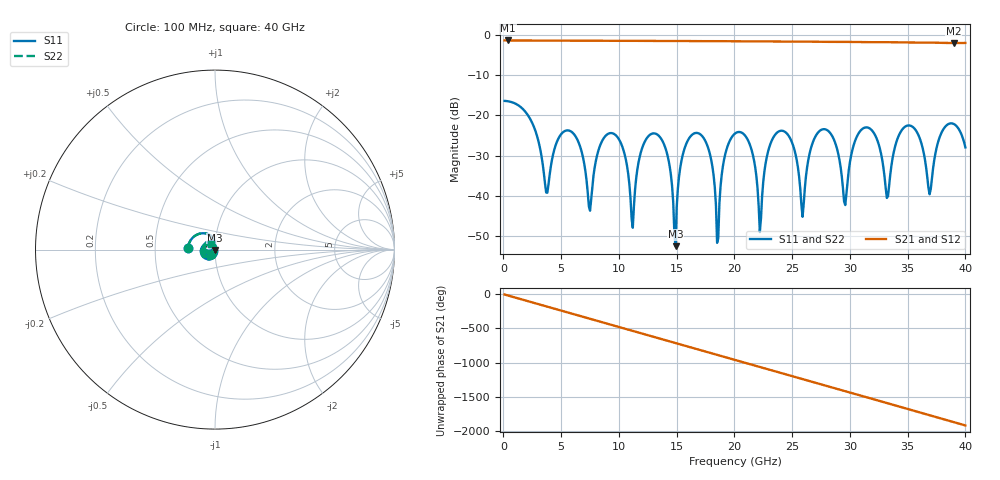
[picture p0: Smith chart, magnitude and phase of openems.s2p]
! T_ts6_sl_20: Stripline In2, ThunderScope stack, w 0.183 mm, 20 mm
! stackup: ThunderScope Rev5.3 6-layer (FR408HR / FR-4, from the board file)
! ports: 1 near A, 2 far A
! openEMS 0.37.0, staircase, fine mesh (dfine 0.0175 mm), 956725 cells
# Hz S RI R 50
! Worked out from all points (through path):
!   400 points, 100 MHz to 40 GHz, reference 50 ohm
!   highest |S21| = -1.43 dB at 400 MHz (marker M1); lowest = -2.1 dB at 39 GHz (marker M2)
!   group delay of S21, straight-line fit = 133 ps
!   lowest |S11| = -52.4 dB at 14.9 GHz (marker M3), VSWR 1.00, Z = 49.8 - j0.167 ohm
!   |S11| at or under -10 dB: start of sweep to end of sweep
!   |S22| runs from -52.4 to -16.4 dB; largest |S21 - S12| = 0
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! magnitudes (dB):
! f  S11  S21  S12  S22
! 100 MHz  -16.4  -1.4  -1.4  -16.4
! 400 MHz  -16.5  -1.4  -1.4  -16.5
! 3.7 GHz  -39.1  -1.5  -1.5  -39.1
! 6.8 GHz  -29.3  -1.5  -1.5  -29.3
! 7.5 GHz  -43.6  -1.5  -1.5  -43.6
! 9.9 GHz  -25.5  -1.5  -1.5  -25.5
! 11.2 GHz  -47.9  -1.5  -1.5  -47.9
! 13.4 GHz  -24.9  -1.6  -1.6  -24.9
! 14.9 GHz  -52.4  -1.6  -1.6  -52.4
! 16 GHz  -26.0  -1.6  -1.6  -26.0
! 17.8 GHz  -28.8  -1.6  -1.6  -28.8
! 18.5 GHz  -51.6  -1.6  -1.6  -51.6
! 20.1 GHz  -24.4  -1.6  -1.6  -24.4
! 21.6 GHz  -29.8  -1.6  -1.6  -29.8
! 22.2 GHz  -48.9  -1.6  -1.6  -48.9
! 23.4 GHz  -25.3  -1.7  -1.7  -25.3
! 25.9 GHz  -45.1  -1.7  -1.7  -45.1
! 26.7 GHz  -27.4  -1.7  -1.7  -27.4
! 33.4 GHz  -37.3  -1.9  -1.9  -37.3
! 36.9 GHz  -39.6  -1.9  -1.9  -39.6
! 39 GHz  -22.1  -2.1  -2.1  -22.1
! 40 GHz  -27.9  -2.0  -2.0  -27.9
